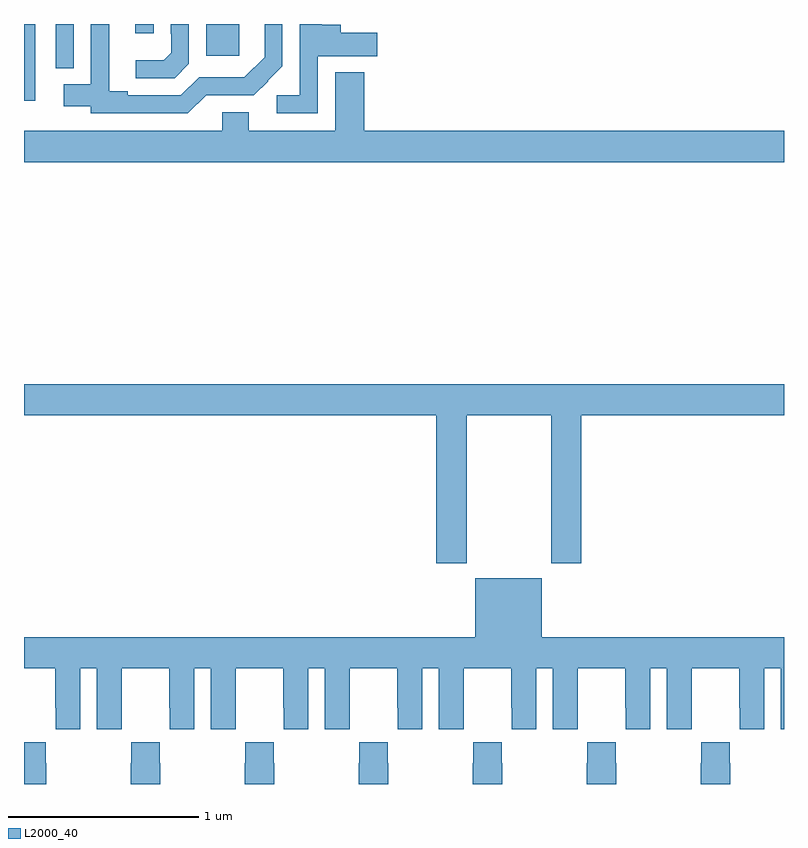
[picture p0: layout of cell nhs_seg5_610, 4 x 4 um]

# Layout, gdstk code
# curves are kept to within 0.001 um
import gdstk
lib = gdstk.Library(unit=1e-6, precision=1e-09)
def R(c, l, rs):  # rectangles x0, y0, x1, y1
    for r in rs: c.add(gdstk.rectangle(r[:2], r[2:], *l))
def P(c, l, *ps):  # polygons
    for p in ps: c.add(gdstk.Polygon(p, *l))
L2000_40 = (2000, 40)

nhs_seg5_610 = lib.new_cell('nhs_seg5_610')
R(nhs_seg5_610, L2000_40, [(149,878.394,149.058,878.799), (149.166,878.567,149.262,878.799), (149.96,878.631,150.133,878.799), (149.585,878.751,149.682,878.799)])
P(nhs_seg5_610, L2000_40, [(150.546,878.63),(150.859,878.63),(150.859,878.752),(150.667,878.752),(150.667,878.794),(150.566,878.794),(150.566,878.799),(150.45,878.799),(150.45,878.424),(150.33,878.424),(150.33,878.328),(150.546,878.328)],
  [(149.868,878.589),(149.868,878.799),(149.772,878.799),(149.772,878.749),(149.775,878.749),(149.775,878.649),(149.735,878.609),(149.589,878.609),(149.589,878.514),(149.793,878.514)],
  [(149.959,878.424),(150.21,878.424),(150.36,878.576),(150.36,878.799),(150.266,878.799),(150.266,878.624),(150.16,878.518),(150.058,878.518),(150.058,878.52),(149.922,878.52),(149.826,878.424),(149.545,878.424),(149.545,878.444),(149.449,878.444),(149.449,878.799),(149.352,878.799),(149.352,878.482),(149.208,878.482),(149.208,878.366),(149.352,878.366),(149.352,878.328),(149.863,878.328)],
  [(153,878.236),(150.791,878.236),(150.791,878.545),(150.638,878.545),(150.638,878.236),(150.184,878.236),(150.184,878.335),(150.044,878.335),(150.044,878.236),(149,878.236),(149,878.072),(153,878.072)],
  [(151.329,876.74),(151.774,876.74),(151.774,875.961),(151.934,875.961),(151.934,876.74),(153,876.74),(153,876.904),(149,876.904),(149,876.74),(151.169,876.74),(151.169,875.961),(151.329,875.961)],
  [(149,875.408),(149.165,875.408),(149.165,875.2),(149.166,875.2),(149.166,875.088),(149.296,875.088),(149.296,875.408),(149.384,875.408),(149.384,875.088),(149.514,875.088),(149.514,875.2),(149.515,875.2),(149.515,875.408),(149.765,875.408),(149.765,875.2),(149.766,875.2),(149.766,875.088),(149.896,875.088),(149.896,875.408),(149.984,875.408),(149.984,875.088),(150.114,875.088),(150.114,875.2),(150.115,875.2),(150.115,875.408),(150.365,875.408),(150.365,875.2),(150.366,875.2),(150.366,875.088),(150.496,875.088),(150.496,875.408),(150.584,875.408),(150.584,875.088),(150.714,875.088),(150.714,875.2),(150.715,875.2),(150.715,875.408),(150.965,875.408),(150.965,875.2),(150.966,875.2),(150.966,875.088),(151.096,875.088),(151.096,875.408),(151.184,875.408),(151.184,875.088),(151.314,875.088),(151.314,875.2),(151.315,875.2),(151.315,875.408),(151.565,875.408),(151.565,875.2),(151.566,875.2),(151.566,875.088),(151.696,875.088),(151.696,875.408),(151.784,875.408),(151.784,875.088),(151.914,875.088),(151.914,875.2),(151.915,875.2),(151.915,875.408),(152.165,875.408),(152.165,875.2),(152.166,875.2),(152.166,875.088),(152.296,875.088),(152.296,875.408),(152.384,875.408),(152.384,875.088),(152.514,875.088),(152.514,875.2),(152.515,875.2),(152.515,875.408),(152.765,875.408),(152.765,875.2),(152.766,875.2),(152.766,875.088),(152.896,875.088),(152.896,875.408),(152.984,875.408),(152.984,875.088),(153,875.088),(153,875.572),(151.726,875.572),(151.726,875.881),(151.376,875.881),(151.376,875.572),(149,875.572)],
  [(152.718,874.907),(152.715,874.907),(152.715,875.02),(152.565,875.02),(152.565,874.907),(152.563,874.907),(152.563,874.799),(152.718,874.799)],
  [(149.118,874.907),(149.115,874.907),(149.115,875.02),(149,875.02),(149,874.799),(149.118,874.799)],
  [(149.718,874.907),(149.715,874.907),(149.715,875.02),(149.565,875.02),(149.565,874.907),(149.563,874.907),(149.563,874.799),(149.718,874.799)],
  [(150.318,874.907),(150.315,874.907),(150.315,875.02),(150.165,875.02),(150.165,874.907),(150.163,874.907),(150.163,874.799),(150.318,874.799)],
  [(150.918,874.907),(150.915,874.907),(150.915,875.02),(150.765,875.02),(150.765,874.907),(150.763,874.907),(150.763,874.799),(150.918,874.799)],
  [(151.518,874.907),(151.515,874.907),(151.515,875.02),(151.365,875.02),(151.365,874.907),(151.363,874.907),(151.363,874.799),(151.518,874.799)],
  [(152.118,874.907),(152.115,874.907),(152.115,875.02),(151.965,875.02),(151.965,874.907),(151.963,874.907),(151.963,874.799),(152.118,874.799)])

lib.write_gds('nhs_seg5_610.gds')
